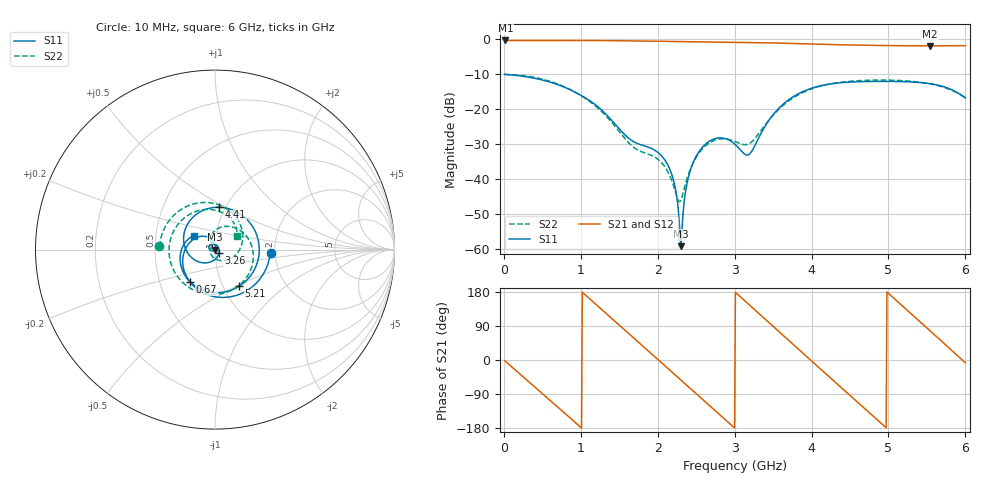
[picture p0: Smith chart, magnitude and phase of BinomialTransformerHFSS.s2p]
! Touchstone file from project TaperedLine_and_RadialStub
! Exported from HFSS 2018.0.0
! Variables:
!  $h = 62mil
!  $t = 0.7mil
!  h = 62mil
!  lam = 65.346mm
!  reflectStandard = 20mm
!  t = 0.7mil
!  w = 2.99067mm
!  w1 = 2.57627mm
!  w2 = 1.5658mm
!  w3 = 0.849831mm
!  w4 = 0.6694mm
!Data is not renormalized
# GHZ S MA
! Modal data exported
! Port[1] = 1:1
! Port[2] = 2:1
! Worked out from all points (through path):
!   600 points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, 10 MHz to 6 GHz, reference per port
!   highest |S21| = -0.45 dB at 20 MHz (marker M1); lowest = -2.0 dB at 5.54 GHz (marker M2)
!   group delay of S21, straight-line fit = 504 ps
!   lowest |S11| = -59.3 dB at 2.3 GHz (marker M3), VSWR 1.00
!   |S11| at or under -10 dB: start of sweep to end of sweep
!   |S22| runs from -46.6 to -10.1 dB; largest |S21 - S12| = 4.2e-14
!   S11 on the Smith chart (normalised r, x): 10 MHz: 1.90, -0.08; 670 MHz: 0.71, -0.27; 3.26 GHz: 1.04, -0.04; 4.41 GHz: 0.94, +0.47; 5.21 GHz: 1.19, -0.52; 6 GHz: 0.78, +0.12
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0.01  0.3125 -3.7  0.9491 -1.6  0.9491 -1.6  0.3128 176.7
! Gamma ! 0.0100899961512815 0.367418085808535 0.0164260266058188 0.362744255591059
! Port Impedance50 0 101.684280860478 -1.26108060636174
0.02  0.3098 -4.6  0.9495 -3.4  0.9495 -3.4  0.3106 176.1
0.38  0.2759 -72.7  0.9459 -67.0  0.9459 -67.0  0.2839 118.7
0.67  0.2278 -127.7  0.9464 -118.5  0.9464 -118.5  0.2326 70.8
1.01  0.1538 170.2  0.9489 -179.4  0.9489 -179.4  0.1522 11.6
1.23  0.1052 135.1  0.9473 140.9  0.9473 140.9  0.1005 -29.9
1.51  0.05027 105.8  0.9412 90.3  0.9412 90.3  0.04577 -99.0
2.01  0.02339 89.1  0.9248 -0.0  0.9248 -0.0  0.01867 101.2
2.19  0.01088 62.8  0.919 -32.6  0.919 -32.6  0.008951 78.4
2.3  0.001083 -31.1  0.9154 -52.5  0.9154 -52.5  0.00489 132.0
2.4  0.01055 -139.1  0.9122 -70.6  0.9122 -70.6  0.01159 162.2
2.53  0.02369 -165.0  0.9079 -94.2  0.9079 -94.2  0.02275 150.9
3.01  0.03068 89.5  0.8929 178.6  0.8929 178.6  0.03384 96.2
3.26  0.02922 -43.0  0.8852 133.0  0.8852 133.0  0.03704 114.4
3.6  0.1084 -139.1  0.8697 70.6  0.8697 70.6  0.1049 91.0
4.01  0.1984 148.1  0.8436 -4.3  0.8436 -4.3  0.1941 19.0
4.41  0.2374 84.1  0.8222 -77.0  0.8222 -77.0  0.2417 -59.5
4.67  0.2448 41.9  0.812 -124.2  0.812 -124.2  0.2542 -110.6
5.01  0.2465 -18.3  0.8019 173.9  0.8019 173.9  0.2567 -173.5
5.21  0.2444 -56.8  0.7978 137.5  0.7978 137.5  0.2514 152.5
5.54  0.2289 -122.7  0.7952 77.3  0.7952 77.3  0.2276 99.9
6  0.1424 146.8  0.8008 -7.6  0.8008 -7.6  0.1442 31.1
